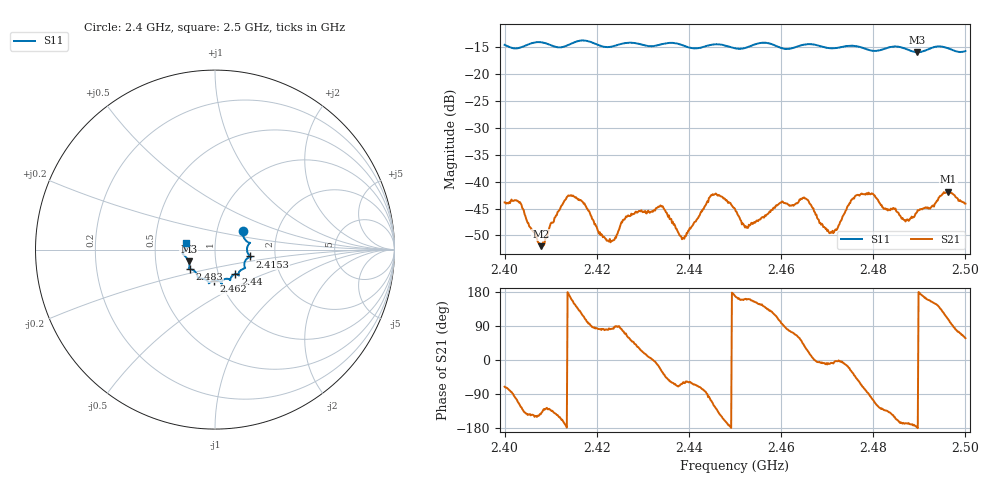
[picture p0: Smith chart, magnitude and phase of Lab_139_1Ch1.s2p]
# Hz S RI R 50
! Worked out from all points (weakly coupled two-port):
!   601 points, 2.4 GHz to 2.5 GHz, reference 50 ohm
!   highest |S21| = -41.87 dB at 2.4963 GHz (marker M1); lowest = -52.0 dB at 2.4078 GHz (marker M2)
!   lowest |S11| = -15.9 dB at 2.4895 GHz (marker M3), VSWR 1.38, Z = 37 - j5.01 ohm
!   |S11| at or under -10 dB: start of sweep to end of sweep
!   S12 and S22 are empty: the file has one direction only
!   S11 on the Smith chart (normalised r, x): 2.4 GHz: 1.33, +0.29; 2.4153 GHz: 1.48, -0.12; 2.44 GHz: 1.20, -0.34; 2.462 GHz: 0.93, -0.33; 2.483 GHz: 0.74, -0.17; 2.5 GHz: 0.72, +0.06
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2.4e9  0.1553 0.1063  0.00214 -0.00605  0 0  0 0
2.403167e9  0.1668 0.0569  -0.00278 -0.00575  0 0  0 0
2.407833e9  0.1953 0.0377  -0.002 -0.00151  0 0  0 0
2.415333e9  0.1965 -0.0383  -0.00586 0.00404  0 0  0 0
2.416667e9  0.2021 -0.0424  -0.00359 0.00559  0 0  0 0
2.422667e9  0.1642 -0.0722  0.000315 0.00275  0 0  0 0
2.426333e9  0.1675 -0.1013  0.00162 0.00445  0 0  0 0
2.433333e9  0.1312 -0.1334  0.00567 -0.00144  0 0  0 0
2.4385e9  0.1261 -0.1385  0.00131 -0.0026  0 0  0 0
2.44e9  0.1139 -0.1368  0.00181 -0.00301  0 0  0 0
2.445333e9  0.0847 -0.1697  -0.00361 -0.0066  0 0  0 0
2.45e9  0.0646 -0.1625  -0.00546 0.00107  0 0  0 0
2.452667e9  0.0398 -0.1741  -0.00354 0.00126  0 0  0 0
2.462e9  -0.0053 -0.1733  0.00146 0.00583  0 0  0 0
2.466667e9  -0.0343 -0.1875  0.00579 0.000846  0 0  0 0
2.470833e9  -0.0566 -0.1653  0.00338 -0.000441  0 0  0 0
2.4765e9  -0.0949 -0.1558  0.0048 -0.00578  0 0  0 0
2.483e9  -0.1377 -0.1097  -0.00388 -0.00398  0 0  0 0
2.483333e9  -0.14 -0.1095  -0.00407 -0.00372  0 0  0 0
2.4895e9  -0.1462 -0.066  -0.0052 -0.000239  0 0  0 0
2.496333e9  -0.1738 -0.0128  -0.00216 0.00777  0 0  0 0
2.5e9  -0.16 0.0392  0.00334 0.00527  0 0  0 0
